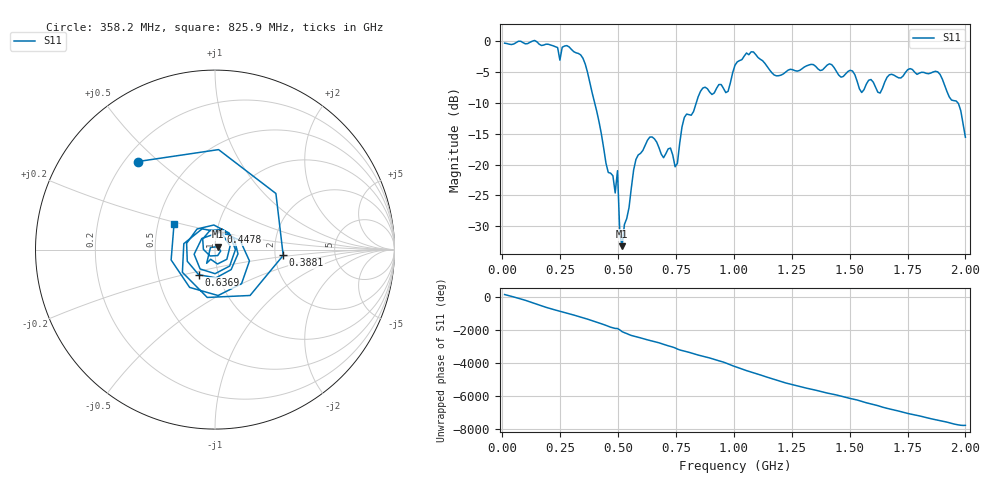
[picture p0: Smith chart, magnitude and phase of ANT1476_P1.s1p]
!Created with skrf (http://scikit-rf.org).
# Hz S RI R 50.0
!freq ReS11 ImS11
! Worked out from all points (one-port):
!   201 points, 10 MHz to 2 GHz, reference 50 ohm
!   lowest |S11| = -33.2 dB at 517.5 MHz (marker M1), VSWR 1.04, Z = 51.4 + j1.68 ohm
!   |S11| at or under -10 dB: 399 MHz to 837.7 MHz (438.6 MHz wide, 70.9 % of centre); 1.967 GHz to end of sweep
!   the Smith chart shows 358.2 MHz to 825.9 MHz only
!   S11 on the Smith chart (normalised r, x): 358.2 MHz: 0.25, +0.43; 388.1 MHz: 2.22, -0.17; 447.8 MHz: 1.05, +0.21; 636.9 MHz: 0.80, -0.23; 825.9 MHz: 0.61, +0.19
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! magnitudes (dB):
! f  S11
! 10 MHz  -0.3
! 258.8 MHz  -1.0
! 358.2 MHz  -3.7
! 388.1 MHz  -8.4
! 447.8 MHz  -19.8
! 487.6 MHz  -24.6
! 497.6 MHz  -21.0
! 507.5 MHz  -31.1
! 517.5 MHz  -33.2
! 577.1 MHz  -19.2
! 636.9 MHz  -15.5
! 756.2 MHz  -19.8
! 786.1 MHz  -12.4
! 825.9 MHz  -11.4
! 865.7 MHz  -7.6
! 975.1 MHz  -8.1
! 1.005 GHz  -3.9
! 1.085 GHz  -1.8
! 1.174 GHz  -5.5
! 1.254 GHz  -4.6
! 1.502 GHz  -4.7
! 1.552 GHz  -8.3
! 1.592 GHz  -6.2
! 1.632 GHz  -8.4
! 1.751 GHz  -4.6
! 1.891 GHz  -5.4
! 1.97 GHz  -10.1
! 2 GHz  -15.6
